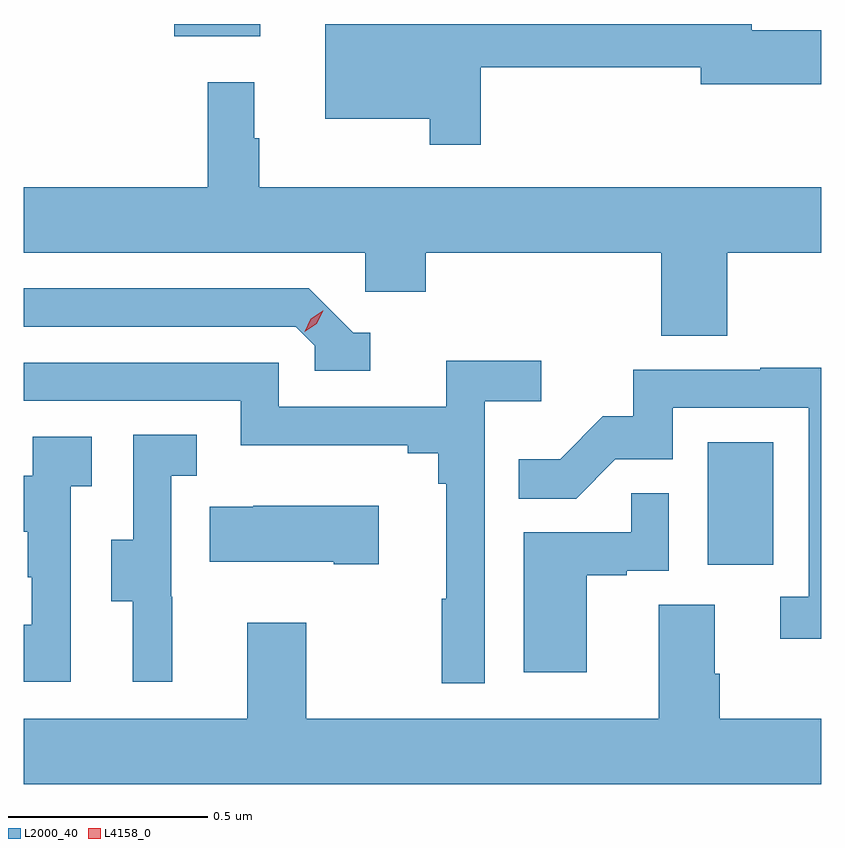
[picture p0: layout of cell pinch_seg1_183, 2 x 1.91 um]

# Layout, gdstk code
import gdstk
lib = gdstk.Library(unit=1e-6, precision=1e-09)
def R(c, l, rs):  # rectangles x0, y0, x1, y1
    for r in rs: c.add(gdstk.rectangle(r[:2], r[2:], *l))
def P(c, l, *ps):  # polygons
    for p in ps: c.add(gdstk.Polygon(p, *l))
L2000_40 = (2000, 40)
L4158_0 = (4158, 0)

pinch_seg1_183 = lib.new_cell('pinch_seg1_183')
R(pinch_seg1_183, L2000_40, [(1127.954,542.958,1128.118,543.265), (1126.616,544.283,1126.831,544.314)])
P(pinch_seg1_183, L2000_40, [(1127.384,544.206),(1127.936,544.206),(1127.936,544.163),(1128.238,544.163),(1128.238,544.298),(1128.064,544.298),(1128.064,544.314),(1126.994,544.314),(1126.994,544.076),(1127.256,544.076),(1127.256,544.011),(1127.384,544.011)],
  [(1128.002,543.74),(1128.238,543.74),(1128.238,543.904),(1126.828,543.904),(1126.828,544.028),(1126.816,544.028),(1126.816,544.168),(1126.699,544.168),(1126.699,543.904),(1126.238,543.904),(1126.238,543.74),(1127.094,543.74),(1127.094,543.642),(1127.246,543.642),(1127.246,543.74),(1127.837,543.74),(1127.837,543.532),(1128.002,543.532)],
  [(1127.107,543.54),(1127.064,543.54),(1126.953,543.651),(1126.238,543.651),(1126.238,543.555),(1126.92,543.555),(1126.968,543.507),(1126.968,543.444),(1127.107,543.444)],
  [(1127.394,543.368),(1127.536,543.368),(1127.536,543.47),(1127.297,543.47),(1127.297,543.354),(1126.878,543.354),(1126.878,543.465),(1126.238,543.465),(1126.238,543.369),(1126.782,543.369),(1126.782,543.257),(1127.201,543.257),(1127.201,543.238),(1127.278,543.238),(1127.278,543.161),(1127.297,543.161),(1127.297,542.873),(1127.286,542.873),(1127.286,542.661),(1127.394,542.661)],
  [(1128.238,543.452),(1128.085,543.452),(1128.085,543.447),(1127.767,543.447),(1127.767,543.33),(1127.69,543.33),(1127.583,543.223),(1127.479,543.223),(1127.479,543.124),(1127.623,543.124),(1127.721,543.222),(1127.865,543.222),(1127.865,543.351),(1128.207,543.351),(1128.207,542.877),(1128.135,542.877),(1128.135,542.772),(1128.238,542.772)],
  [(1126.61,542.877),(1126.608,542.877),(1126.608,543.181),(1126.672,543.181),(1126.672,543.284),(1126.512,543.284),(1126.512,543.021),(1126.457,543.021),(1126.457,542.866),(1126.511,542.866),(1126.511,542.664),(1126.61,542.664)],
  [(1126.356,543.155),(1126.408,543.155),(1126.408,543.279),(1126.26,543.279),(1126.26,543.181),(1126.238,543.181),(1126.238,543.041),(1126.248,543.041),(1126.248,542.927),(1126.258,542.927),(1126.258,542.808),(1126.238,542.808),(1126.238,542.664),(1126.356,542.664)],
  [(1127.65,542.931),(1127.75,542.931),(1127.75,542.943),(1127.856,542.943),(1127.856,543.137),(1127.761,543.137),(1127.761,543.039),(1127.492,543.039),(1127.492,542.688),(1127.65,542.688)],
  [(1127.128,543.106),(1126.813,543.106),(1126.813,543.103),(1126.705,543.103),(1126.705,542.966),(1127.015,542.966),(1127.015,542.959),(1127.128,542.959)],
  [(1128.238,542.572),(1127.984,542.572),(1127.984,542.684),(1127.971,542.684),(1127.971,542.858),(1127.831,542.858),(1127.831,542.572),(1126.947,542.572),(1126.947,542.812),(1126.799,542.812),(1126.799,542.572),(1126.238,542.572),(1126.238,542.408),(1128.238,542.408)])
P(pinch_seg1_183, L4158_0, [(1126.943,543.542),(1126.943,543.542),(1126.958,543.575),(1126.988,543.595),(1126.989,543.595),(1126.989,543.595),(1126.973,543.562),(1126.943,543.542)])

lib.write_gds('pinch_seg1_183.gds')
